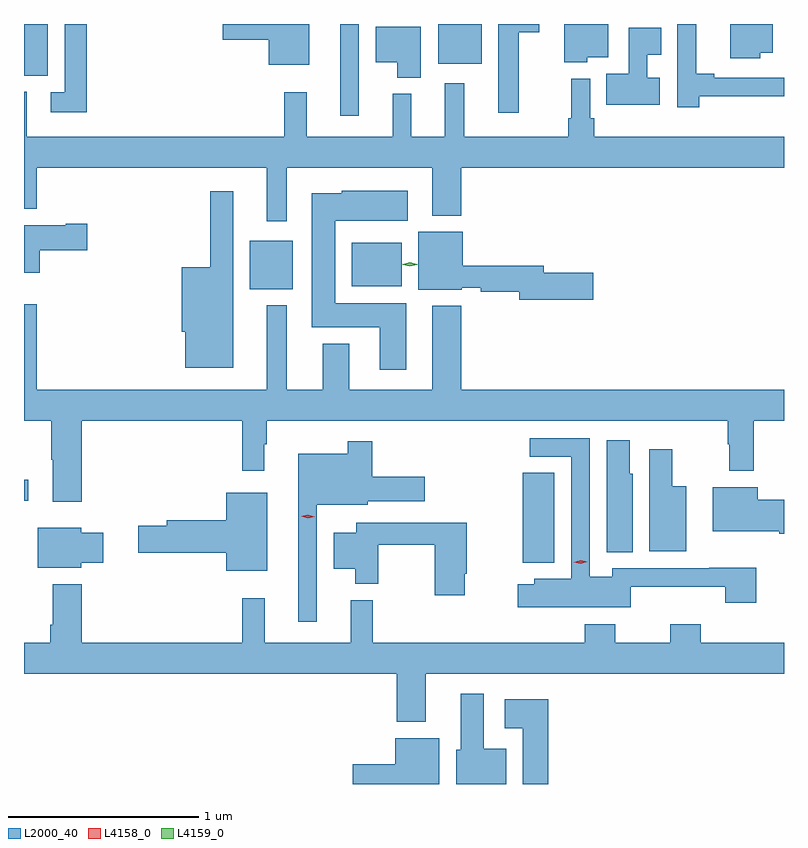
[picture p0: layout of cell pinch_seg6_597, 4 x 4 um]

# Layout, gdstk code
import gdstk
lib = gdstk.Library(unit=1e-6, precision=1e-09)
def R(c, l, rs):  # rectangles x0, y0, x1, y1
    for r in rs: c.add(gdstk.rectangle(r[:2], r[2:], *l))
def P(c, l, *ps):  # polygons
    for p in ps: c.add(gdstk.Polygon(p, *l))
L2000_40 = (2000, 40)
L4158_0 = (4158, 0)
L4159_0 = (4159, 0)

pinch_seg6_597 = lib.new_cell('pinch_seg6_597')
R(pinch_seg6_597, L2000_40, [(496.142,982.553,496.309,983.027), (493.517,982.88,493.54,982.99), (494.705,983.993,494.932,984.247), (495.242,984.008,495.505,984.238), (495.182,984.906,495.279,985.389), (493.517,985.117,493.642,985.389), (495.698,985.181,495.925,985.389)])
P(pinch_seg6_597, L2000_40, [(495.019,985.389),(494.562,985.389),(494.562,985.307),(494.804,985.307),(494.804,985.175),(495.019,985.175)],
  [(493.847,985.389),(493.731,985.389),(493.731,985.029),(493.659,985.029),(493.659,984.924),(493.847,984.924)],
  [(496.12,985.346),(496.228,985.346),(496.228,985.389),(496.013,985.389),(496.013,984.921),(496.12,984.921)],
  [(497.392,985.238),(497.458,985.238),(497.458,985.389),(497.234,985.389),(497.234,985.208),(497.392,985.208)],
  [(496.482,985.214),(496.591,985.214),(496.591,985.389),(496.361,985.389),(496.361,985.187),(496.482,985.187)],
  [(497.072,985.01),(497.517,985.01),(497.517,985.107),(497.149,985.107),(497.149,985.127),(497.054,985.127),(497.054,985.389),(496.956,985.389),(496.956,984.951),(497.072,984.951)],
  [(495.604,985.375),(495.368,985.375),(495.368,985.187),(495.482,985.187),(495.482,985.106),(495.604,985.106)],
  [(496.864,985.105),(496.798,985.105),(496.798,985.226),(496.871,985.226),(496.871,985.37),(496.701,985.37),(496.701,985.126),(496.582,985.126),(496.582,984.965),(496.864,984.965)],
  [(497.517,984.796),(496.517,984.796),(496.517,984.892),(496.497,984.892),(496.497,985.102),(496.396,985.102),(496.396,984.892),(496.381,984.892),(496.381,984.796),(495.835,984.796),(495.835,985.078),(495.731,985.078),(495.731,984.796),(495.556,984.796),(495.556,985.021),(495.458,985.021),(495.458,984.796),(495.005,984.796),(495.005,985.03),(494.887,985.03),(494.887,984.796),(493.531,984.796),(493.531,985.032),(493.517,985.032),(493.517,984.416),(493.585,984.416),(493.585,984.632),(494.795,984.632),(494.795,984.351),(494.899,984.351),(494.899,984.632),(495.665,984.632),(495.665,984.38),(495.818,984.38),(495.818,984.632),(497.517,984.632)],
  [(495.529,983.92),(495.154,983.92),(495.154,984.353),(495.536,984.353),(495.536,984.511),(495.189,984.511),(495.189,984.499),(495.032,984.499),(495.032,983.792),(495.389,983.792),(495.389,983.568),(495.529,983.568)],
  [(494.617,984.508),(494.496,984.508),(494.496,984.109),(494.348,984.109),(494.348,983.769),(494.366,983.769),(494.366,983.579),(494.617,983.579)],
  [(493.6,984.197),(493.849,984.197),(493.849,984.339),(493.736,984.339),(493.736,984.331),(493.517,984.331),(493.517,984.08),(493.6,984.08)],
  [(496.513,984.08),(496.252,984.08),(496.252,984.116),(495.826,984.116),(495.826,984.295),(495.593,984.295),(495.593,983.99),(495.822,983.99),(495.822,984),(495.922,984),(495.922,983.98),(496.124,983.98),(496.124,983.938),(496.513,983.938)],
  [(493.517,983.914),(493.517,983.3),(493.66,983.3),(493.66,983.096),(493.667,983.096),(493.667,982.875),(493.82,982.875),(493.82,983.3),(494.665,983.3),(494.665,983.037),(494.782,983.037),(494.782,983.177),(494.794,983.177),(494.794,983.3),(497.221,983.3),(497.221,983.177),(497.229,983.177),(497.229,983.037),(497.357,983.037),(497.357,983.3),(497.517,983.3),(497.517,983.464),(495.818,983.464),(495.818,983.905),(495.665,983.905),(495.665,983.464),(495.229,983.464),(495.229,983.707),(495.089,983.707),(495.089,983.464),(494.899,983.464),(494.899,983.908),(494.795,983.908),(494.795,983.464),(493.585,983.464),(493.585,983.914)],
  [(496.71,982.427),(497.207,982.427),(497.207,982.344),(497.372,982.344),(497.372,982.526),(497.123,982.526),(497.123,982.524),(496.614,982.524),(496.614,982.48),(496.494,982.48),(496.494,983.208),(496.179,983.208),(496.179,983.112),(496.398,983.112),(496.398,982.468),(496.203,982.468),(496.203,982.441),(496.116,982.441),(496.116,982.319),(496.71,982.319)],
  [(496.72,983.022),(496.705,983.022),(496.705,983.197),(496.583,983.197),(496.583,982.609),(496.72,982.609)],
  [(495.057,982.859),(495.327,982.859),(495.327,982.877),(495.625,982.877),(495.625,983.007),(495.35,983.007),(495.35,983.194),(495.222,983.194),(495.222,983.128),(494.96,983.128),(494.96,982.242),(495.057,982.242)],
  [(497.002,982.957),(496.93,982.957),(496.93,983.152),(496.808,983.152),(496.808,982.613),(497.002,982.613)],
  [(497.517,982.884),(497.38,982.884),(497.38,982.951),(497.141,982.951),(497.141,982.718),(497.492,982.718),(497.492,982.706),(497.517,982.706)],
  [(494.797,982.921),(494.582,982.921),(494.582,982.778),(494.267,982.778),(494.267,982.748),(494.118,982.748),(494.118,982.606),(494.582,982.606),(494.582,982.511),(494.797,982.511)],
  [(495.838,982.495),(495.846,982.495),(495.846,982.764),(495.266,982.764),(495.266,982.711),(495.146,982.711),(495.146,982.523),(495.26,982.523),(495.26,982.442),(495.382,982.442),(495.382,982.648),(495.68,982.648),(495.68,982.383),(495.838,982.383)],
  [(493.818,982.553),(493.933,982.553),(493.933,982.711),(493.818,982.711),(493.818,982.738),(493.589,982.738),(493.589,982.526),(493.818,982.526)],
  [(495.631,981.968),(497.517,981.968),(497.517,982.132),(497.078,982.132),(497.078,982.231),(496.918,982.231),(496.918,982.132),(496.629,982.132),(496.629,982.231),(496.469,982.231),(496.469,982.132),(495.353,982.132),(495.353,982.357),(495.236,982.357),(495.236,982.132),(494.783,982.132),(494.783,982.366),(494.665,982.366),(494.665,982.132),(493.82,982.132),(493.82,982.441),(493.667,982.441),(493.667,982.228),(493.655,982.228),(493.655,982.132),(493.517,982.132),(493.517,981.968),(495.479,981.968),(495.479,981.716),(495.631,981.716)],
  [(496.054,981.574),(495.937,981.574),(495.937,981.865),(495.815,981.865),(495.815,981.57),(495.791,981.57),(495.791,981.389),(496.054,981.389)],
  [(496.277,981.835),(496.047,981.835),(496.047,981.683),(496.142,981.683),(496.142,981.389),(496.277,981.389)],
  [(495.703,981.631),(495.47,981.631),(495.47,981.492),(495.246,981.492),(495.246,981.389),(495.703,981.389)])
P(pinch_seg6_597, L4158_0, [(496.446,982.548),(496.411,982.557),(496.411,982.557),(496.411,982.557),(496.446,982.567),(496.481,982.558),(496.482,982.558),(496.481,982.558)],
  [(495.011,982.787),(494.976,982.798),(494.975,982.798),(494.976,982.798),(495.011,982.807),(495.047,982.796),(495.047,982.796),(495.047,982.796)])
P(pinch_seg6_597, L4159_0, [(495.548,984.114),(495.51,984.123),(495.51,984.124),(495.51,984.124),(495.548,984.134),(495.587,984.124),(495.587,984.124),(495.587,984.123)])

lib.write_gds('pinch_seg6_597.gds')
